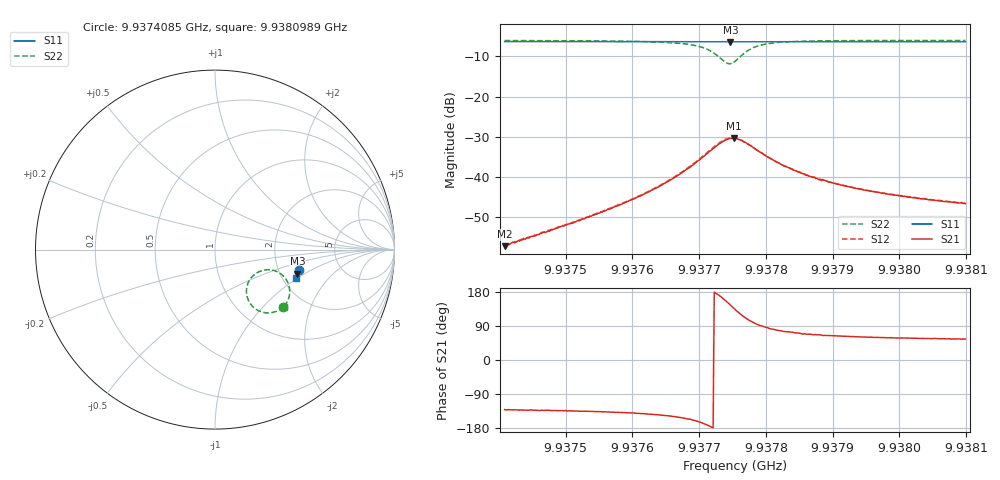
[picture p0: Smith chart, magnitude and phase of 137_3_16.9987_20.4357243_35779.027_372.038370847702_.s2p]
#  HZ  S  RI  R  50.00
! Rohde & Schwarz Vector Network Analyzer
! Rohde-Schwarz,ZNB20-2Port,1311601062101988,3.16
! Created: UTC 3/20/2024, 10:58:12 PM
! freq[Hz]  re:S11  im:S11  re:S21  im:S21  re:S12  im:S12  re:S22  im:S22
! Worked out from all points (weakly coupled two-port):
!   401 points, 9.9374085 GHz to 9.9380989 GHz, reference 50 ohm
!   highest |S21| = -30.38 dB at 9.937752 GHz (marker M1); lowest = -57.2 dB at 9.9374085 GHz (marker M2)
!   lowest |S11| = -6.4 dB at 9.9377468 GHz (marker M3), VSWR 2.83, Z = 124 - j43.2 ohm
!   |S11| at or under -10 dB: nowhere
!   |S22| runs from -11.8 to -6.0 dB; largest |S21 - S12| = 0.0015
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9.93740851e9  0.4694 -0.1134  -0.000897 -0.00104  -0.000943 -0.00105  0.381 -0.3186
9.93745166e9  0.4684 -0.1164  -0.00122 -0.00135  -0.00127 -0.00133  0.3762 -0.3227
9.93752415e9  0.467 -0.1214  -0.00209 -0.00209  -0.00216 -0.00209  0.365 -0.3315
9.93760009e9  0.4651 -0.1265  -0.00401 -0.00338  -0.00413 -0.00339  0.3443 -0.3426
9.93763979e9  0.4639 -0.1293  -0.00621 -0.00438  -0.00641 -0.00434  0.3233 -0.3495
9.93767603e9  0.4628 -0.1319  -0.0103 -0.00526  -0.0106 -0.00517  0.2875 -0.3527
9.93769502e9  0.4618 -0.1331  -0.0141 -0.00499  -0.0145 -0.00483  0.2553 -0.346
9.93770882e9  0.4609 -0.1339  -0.0183 -0.00347  -0.0188 -0.00313  0.2234 -0.3287
9.93771918e9  0.4602 -0.1343  -0.0218 -0.000921  -0.0225 -0.000295  0.1973 -0.3016
9.93773126e9  0.4593 -0.1346  -0.0256 0.00506  -0.0264 0.00619  0.176 -0.246
9.93773989e9  0.459 -0.1343  -0.0263 0.0116  -0.0266 0.0131  0.1817 -0.1931
9.9377468e9  0.4588 -0.1342  -0.0245 0.0173  -0.0242 0.0186  0.2055 -0.1524
9.93775197e9  0.459 -0.1341  -0.022 0.0208  -0.0213 0.0218  0.2333 -0.1295
9.9377537e9  0.4589 -0.1341  -0.0206 0.0218  -0.02 0.0229  0.2437 -0.1238
9.93776233e9  0.4595 -0.134  -0.0145 0.0247  -0.0137 0.0254  0.2974 -0.112
9.93777268e9  0.4601 -0.1345  -0.00763 0.0245  -0.0067 0.0249  0.3502 -0.1249
9.93779167e9  0.4606 -0.1362  -0.000197 0.0202  0.000329 0.0203  0.3994 -0.171
9.93782619e9  0.4605 -0.1389  0.00347 0.0134  0.00373 0.0134  0.4162 -0.231
9.93786934e9  0.4595 -0.1423  0.00381 0.00918  0.00401 0.00924  0.4115 -0.2668
9.93791939e9  0.4583 -0.1458  0.00355 0.00684  0.00371 0.00682  0.4034 -0.2877
9.93798498e9  0.4567 -0.1504  0.00315 0.00517  0.00327 0.00517  0.3949 -0.3029
9.93809889e9  0.4534 -0.1579  0.00264 0.00382  0.0028 0.00383  0.3837 -0.3184
